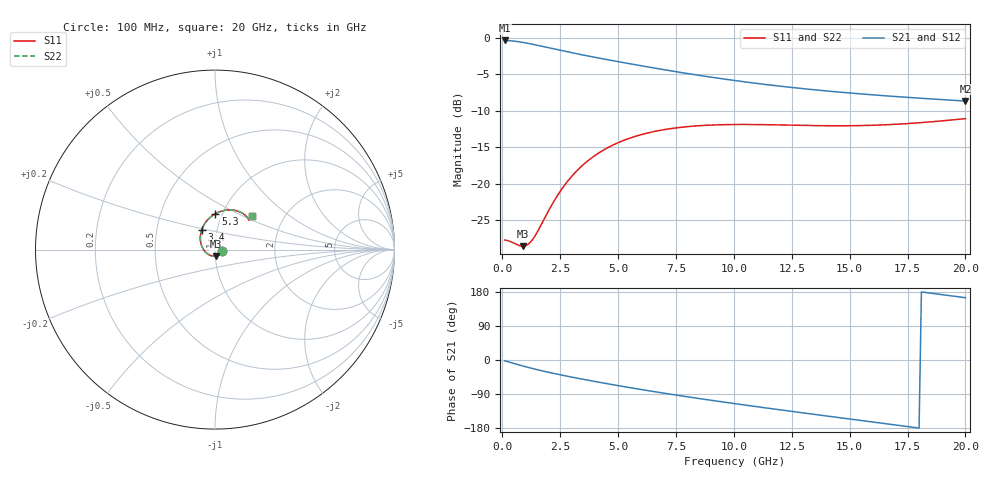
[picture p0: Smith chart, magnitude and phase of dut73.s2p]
! Created with skrf 1.9.0 (http://scikit-rf.org).
# GHz S RI R 50.0
!freq ReS11 ImS11 ReS21 ImS21 ReS12 ImS12 ReS22 ImS22
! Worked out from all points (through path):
!   200 points, 100 MHz to 20 GHz, reference 50 ohm
!   highest |S21| = -0.37 dB at 100 MHz (marker M1); lowest = -8.7 dB at 20 GHz (marker M2)
!   group delay of S21, straight-line fit = 25.5 ps
!   lowest |S11| = -28.5 dB at 900 MHz (marker M3), VSWR 1.08, Z = 50.2 - j3.74 ohm
!   |S11| at or under -10 dB: start of sweep to end of sweep
!   |S22| runs from -28.5 to -11.1 dB; largest |S21 - S12| = 2e-15
!   S11 on the Smith chart (normalised r, x): 100 MHz: 1.08, -0.01; 3.4 GHz: 0.84, +0.18; 5.3 GHz: 0.93, +0.39; 20 GHz: 1.38, +0.57
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0.1  0.0408 -0.0061  0.9577 -0.0307  0.9577 -0.0307  0.0408 -0.0061
0.5  0.0285 -0.027  0.9365 -0.15  0.9365 -0.15  0.0285 -0.027
0.9  0.00387 -0.0372  0.8926 -0.2559  0.8926 -0.2559  0.00387 -0.0372
1.1  -0.0105 -0.0369  0.8648 -0.3023  0.8648 -0.3023  -0.0105 -0.0369
1.3  -0.0249 -0.033  0.8345 -0.3442  0.8345 -0.3442  -0.0249 -0.033
1.5  -0.0385 -0.0259  0.8026 -0.3817  0.8026 -0.3817  -0.0385 -0.0259
2  -0.0654 0.00257  0.7199 -0.4587  0.7199 -0.4587  -0.0654 0.00257
2.4  -0.0777 0.0318  0.6535 -0.5062  0.6535 -0.5062  -0.0777 0.0318
2.7  -0.0815 0.0551  0.6044 -0.5354  0.6044 -0.5354  -0.0815 0.0551
3.4  -0.0749 0.1074  0.4936 -0.5862  0.4936 -0.5862  -0.0749 0.1074
3.5  -0.0725 0.1143  0.4782 -0.5918  0.4782 -0.5918  -0.0725 0.1143
4.3  -0.0446 0.1616  0.3591 -0.6234  0.3591 -0.6234  -0.0446 0.1616
5.3  0.002 0.1999  0.2217 -0.6352  0.2217 -0.6352  0.002 0.1999
6.8  0.0718 0.2207  0.0444 -0.6096  0.0444 -0.6096  0.0718 0.2207
8.4  0.1284 0.2137  -0.1041 -0.546  -0.1041 -0.546  0.1284 0.2137
10.1  0.1646 0.1945  -0.2202 -0.4577  -0.2202 -0.4577  0.1646 0.1945
11.7  0.1812 0.1773  -0.2974 -0.3663  -0.2974 -0.3663  0.1812 0.1773
13.4  0.1875 0.1661  -0.3521 -0.2663  -0.3521 -0.2663  0.1875 0.1661
15  0.1888 0.1636  -0.3815 -0.1722  -0.3815 -0.1722  0.1888 0.1636
16.7  0.1903 0.1684  -0.3918 -0.0743  -0.3918 -0.0743  0.1903 0.1684
18.3  0.1951 0.1778  -0.3829 0.0135  -0.3829 0.0135  0.1951 0.1778
20  0.2053 0.1895  -0.3552 0.0992  -0.3552 0.0992  0.2053 0.1895
